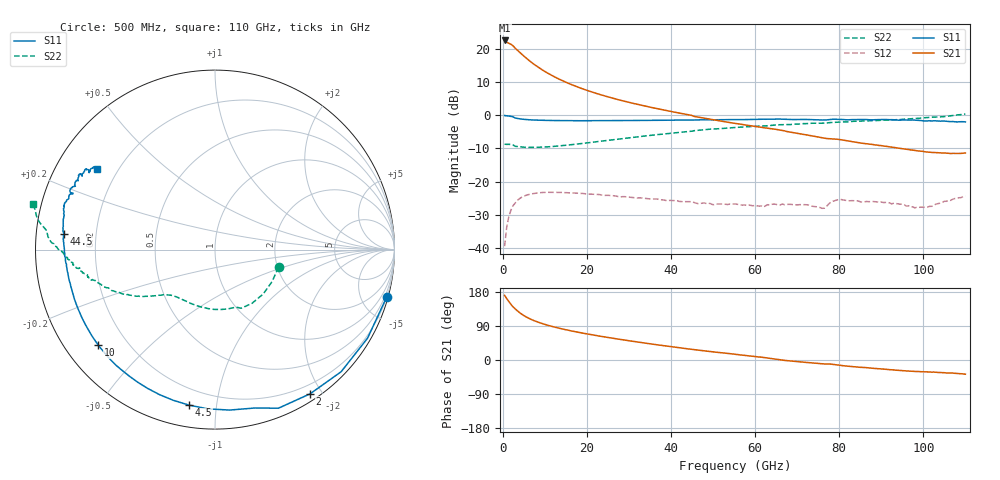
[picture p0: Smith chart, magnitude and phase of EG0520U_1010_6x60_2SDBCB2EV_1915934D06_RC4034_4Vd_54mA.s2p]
!File name = EG0520U_1010_6x60_2SDBCB2EV_1915934D06_RC4034_4Vd_54mA.s2p
!Base file name = EG0520U_1010_6x60_2SDBCB2EV_1915934D06_RC4034
!Date = 8/23/2019
!Time = 1:00 PM
!Test duration(min) = 0.15
!Test = S-Parameters
!MPTS version = 8.91.5
!State File = C:\Data\PNA\20190821205423\S-Parameters_2019-08-23.sta
!Cal File =
!ComputerName = CMPE-LAB-6
!Comments =
!Attenuation = 0
!Z0 = 50
!Input Power(dBm) = -13.00
!Device ID = EG0520U_1010_6x60_2SDBCB2EV
!Row = 40
!Column = 34
!Technology = QPHT09
!Lot/Wafer = 1915934D06
!Gate Size = 360
!Mask = EG0520
!Cal Standards = GaAs BCB
!Cal Kit = EG2306
!Job Number = 20190821205423
!Device Type = FET
!set_Vg(v) = -1.500
!set_Vd(v) = 4.000
!set_Vd(mA) = 54.000
!file_name = EG0520U_1010_6x60_2SDBCB2EV_1915934D06_RC4034_4Vd_54mA.s2p
!Vd(V) = 4.000
!Vd(mA) = 53.979
!Vg(V) = -0.465
!Vg(mA) = -0.003
# GHz  S  DB  R  50
!%	Freq(GHz)  s11(dB)  s11(deg)  s21(dB)  s21(deg)  s12(dB)  s12(deg)  s22(dB)  s22(deg)
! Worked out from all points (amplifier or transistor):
!   220 points, 500 MHz to 110 GHz, reference 50 ohm
!   highest |S21| = 22.6 dB at 500 MHz (marker M1)
!   |S21| within 3 dB of that: start of sweep to 3.584 GHz
!   unconditionally stable (mu >= 1): 30.53 GHz to 101.4 GHz
!   at 18.5 GHz: K = 0.57, MSG = 15.9 dB, |S12| = -23.5 dB
!   at 55.5 GHz: K = 1.60, MAG = 7.6 dB, |S12| = -26.8 dB
!   at 110 GHz: K = -1.92, MSG = 6.5 dB, |S12| = -24.3 dB
!   S11 on the Smith chart (normalised r, x): 500 MHz: 0.20, -7.46; 2 GHz: 0.08, -1.85; 4.5 GHz: 0.11, -0.84; 10 GHz: 0.10, -0.35; 44.5 GHz: 0.08, +0.05; 110 GHz: 0.13, +0.31
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0.5  -0.06 -15.3  22.59 170.6  -39.48 80.9  -8.70 -15.4
1  -0.15 -30.1  22.11 162.0  -33.71 73.1  -8.77 -29.2
1.5  -0.19 -44.1  21.72 154.3  -30.58 65.6  -8.75 -42.5
2  -0.33 -56.6  21.45 146.9  -28.60 58.8  -8.79 -55.4
2.5  -0.43 -68.2  20.98 140.3  -27.24 52.9  -8.93 -65.8
3  -0.82 -75.9  20.27 135.2  -26.45 48.5  -9.34 -70.0
3.5  -0.94 -84.8  19.68 130.0  -25.72 44.1  -9.42 -77.9
4.5  -1.13 -99.5  18.52 121.4  -24.76 36.7  -9.55 -91.1
5.5  -1.26 -111.0  17.41 114.4  -24.18 31.1  -9.65 -101.0
7  -1.40 -124.0  15.86 106.1  -23.68 24.8  -9.67 -111.7
8.5  -1.46 -133.4  14.50 99.7  -23.39 20.2  -9.65 -118.5
10  -1.51 -140.7  13.28 94.1  -23.26 16.3  -9.56 -123.9
13.5  -1.59 -152.8  10.89 83.7  -23.24 10.3  -9.22 -131.8
19  -1.63 -164.1  8.01 71.0  -23.57 4.8  -8.47 -138.1
26.5  -1.60 -173.3  5.06 56.9  -24.28 1.8  -7.32 -143.2
37  -1.50 178.7  1.94 39.7  -25.31 2.3  -5.80 -149.7
44.5  -1.44 174.0  0.08 28.7  -26.02 4.7  -4.83 -154.6
55.5  -1.29 167.9  -2.45 14.8  -26.79 8.8  -3.65 -162.0
73.5  -1.30 158.9  -6.20 -8.0  -27.40 9.1  -2.38 -171.1
92  -1.32 150.7  -9.50 -25.4  -26.43 -4.7  -1.40 -179.1
100.5  -1.71 148.5  -11.01 -31.4  -27.77 -0.0  -0.71 176.7
110  -2.00 145.6  -11.36 -37.5  -24.30 -3.6  0.41 165.9
